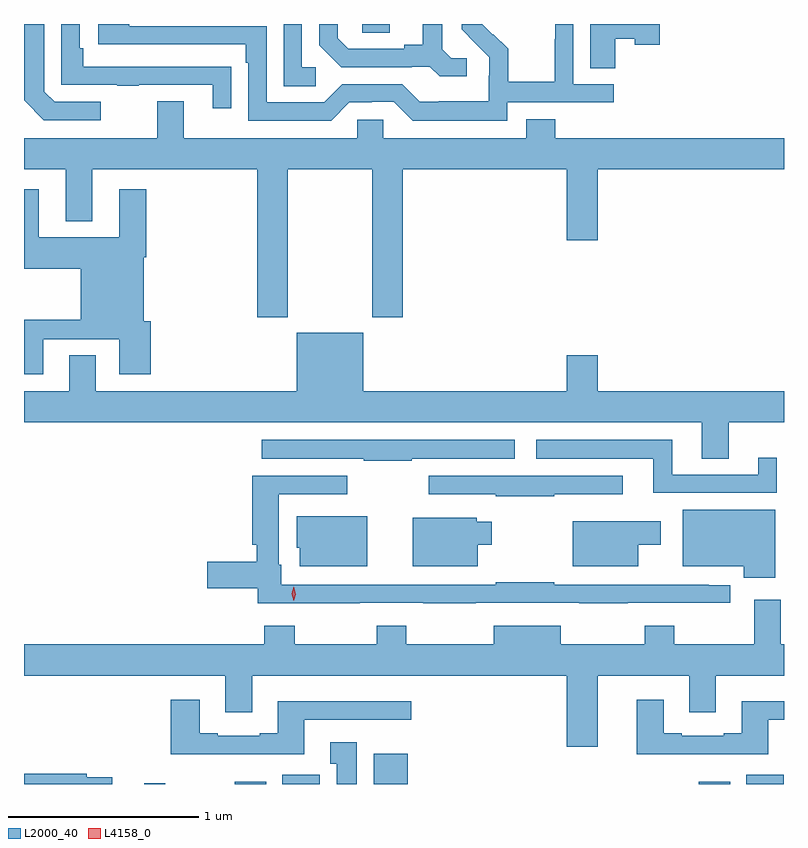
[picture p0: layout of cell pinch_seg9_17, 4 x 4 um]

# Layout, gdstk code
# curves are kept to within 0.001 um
import gdstk
lib = gdstk.Library(unit=1e-6, precision=1e-09)
def R(c, l, rs):  # rectangles x0, y0, x1, y1
    for r in rs: c.add(gdstk.rectangle(r[:2], r[2:], *l))
def P(c, l, *ps):  # polygons
    for p in ps: c.add(gdstk.Polygon(p, *l))
L2000_40 = (2000, 40)
L4158_0 = (4158, 0)

pinch_seg9_17 = lib.new_cell('pinch_seg9_17')
R(pinch_seg9_17, L2000_40, [(1109.835,1206.505,1109.947,1206.509), (1110.311,1206.505,1110.478,1206.517), (1110.563,1206.505,1110.759,1206.553), (1111.043,1206.505,1111.222,1206.664), (1112.753,1206.505,1112.92,1206.517), (1113.005,1206.505,1113.201,1206.553), (1110.984,1210.459,1111.129,1210.505)])
P(pinch_seg9_17, L2000_40, [(1111.746,1210.092),(1112.308,1210.092),(1112.308,1210.188),(1112.094,1210.188),(1112.094,1210.505),(1111.998,1210.505),(1111.998,1210.424),(1111.996,1210.424),(1111.996,1210.201),(1111.751,1210.201),(1111.751,1210.375),(1111.674,1210.452),(1111.671,1210.449),(1111.616,1210.505),(1111.506,1210.505),(1111.506,1210.478),(1111.652,1210.33),(1111.652,1210.233),(1111.65,1210.233),(1111.65,1210.099),(1111.387,1210.099),(1111.387,1210.095),(1111.287,1210.095),(1111.194,1210.188),(1110.879,1210.188),(1110.783,1210.092),(1110.48,1210.092),(1110.48,1210.494),(1109.756,1210.494),(1109.756,1210.505),(1109.595,1210.505),(1109.595,1210.398),(1110.371,1210.398),(1110.371,1210.301),(1110.384,1210.301),(1110.384,1209.996),(1110.819,1209.996),(1110.915,1210.092),(1111.034,1210.092),(1111.034,1210.095),(1111.149,1210.095),(1111.249,1209.995),(1111.746,1209.995)],
  [(1111.534,1210.326),(1111.452,1210.326),(1111.405,1210.373),(1111.405,1210.505),(1111.301,1210.505),(1111.301,1210.397),(1111.205,1210.397),(1111.205,1210.374),(1110.91,1210.374),(1110.853,1210.431),(1110.853,1210.505),(1110.756,1210.505),(1110.756,1210.394),(1110.872,1210.278),(1111.244,1210.278),(1111.244,1210.281),(1111.338,1210.281),(1111.39,1210.229),(1111.534,1210.229)],
  [(1109.608,1210.095),(1109.364,1210.095),(1109.31,1210.149),(1109.31,1210.505),(1109.203,1210.505),(1109.203,1210.104),(1109.307,1209.999),(1109.608,1209.999)],
  [(1110.293,1210.28),(1110.191,1210.28),(1110.191,1210.281),(1109.516,1210.281),(1109.516,1210.378),(1109.496,1210.378),(1109.496,1210.505),(1109.4,1210.505),(1109.4,1210.185),(1109.695,1210.185),(1109.695,1210.18),(1109.807,1210.18),(1109.807,1210.185),(1110.197,1210.185),(1110.197,1210.062),(1110.293,1210.062)],
  [(1110.739,1210.278),(1110.666,1210.278),(1110.666,1210.505),(1110.57,1210.505),(1110.57,1210.177),(1110.739,1210.177)],
  [(1112.314,1210.427),(1112.418,1210.427),(1112.418,1210.397),(1112.549,1210.397),(1112.549,1210.505),(1112.183,1210.505),(1112.183,1210.273),(1112.314,1210.273)],
  [(1110.591,1209.74),(1111.036,1209.74),(1111.036,1208.961),(1111.196,1208.961),(1111.196,1209.74),(1112.06,1209.74),(1112.06,1209.366),(1112.224,1209.366),(1112.224,1209.74),(1113.203,1209.74),(1113.203,1209.904),(1112,1209.904),(1112,1210.003),(1111.847,1210.003),(1111.847,1209.904),(1111.095,1209.904),(1111.095,1210.002),(1110.957,1210.002),(1110.957,1209.904),(1110.043,1209.904),(1110.043,1210.099),(1109.903,1210.099),(1109.903,1209.904),(1109.203,1209.904),(1109.203,1209.74),(1109.423,1209.74),(1109.423,1209.467),(1109.563,1209.467),(1109.563,1209.74),(1110.431,1209.74),(1110.431,1208.961),(1110.591,1208.961)],
  [(1109.305,1208.847),(1109.705,1208.847),(1109.705,1208.661),(1109.87,1208.661),(1109.87,1208.94),(1109.833,1208.94),(1109.833,1209.278),(1109.846,1209.278),(1109.846,1209.634),(1109.705,1209.634),(1109.705,1209.382),(1109.281,1209.382),(1109.281,1209.634),(1109.203,1209.634),(1109.203,1209.218),(1109.501,1209.218),(1109.501,1208.948),(1109.203,1208.948),(1109.203,1208.661),(1109.305,1208.661)],
  [(1112.911,1208.408),(1113.203,1208.408),(1113.203,1208.572),(1112.224,1208.572),(1112.224,1208.761),(1112.06,1208.761),(1112.06,1208.572),(1110.988,1208.572),(1110.988,1208.881),(1110.638,1208.881),(1110.638,1208.572),(1109.581,1208.572),(1109.581,1208.762),(1109.441,1208.762),(1109.441,1208.572),(1109.203,1208.572),(1109.203,1208.408),(1112.771,1208.408),(1112.771,1208.218),(1112.911,1208.218)],
  [(1111.244,1208.216),(1111.786,1208.216),(1111.786,1208.317),(1110.453,1208.317),(1110.453,1208.216),(1110.991,1208.216),(1110.991,1208.206),(1111.244,1208.206)],
  [(1113.166,1208.221),(1113.068,1208.221),(1113.068,1208.133),(1112.614,1208.133),(1112.614,1208.317),(1111.899,1208.317),(1111.899,1208.216),(1112.516,1208.216),(1112.516,1208.037),(1113.166,1208.037)],
  [(1110.971,1207.458),(1111.303,1207.458),(1111.303,1207.457),(1111.58,1207.457),(1111.58,1207.458),(1112.125,1207.458),(1112.125,1207.457),(1112.381,1207.457),(1112.381,1207.458),(1112.92,1207.458),(1112.92,1207.552),(1112.807,1207.552),(1112.807,1207.554),(1111.994,1207.554),(1111.994,1207.567),(1111.687,1207.567),(1111.687,1207.554),(1110.556,1207.554),(1110.556,1207.659),(1110.543,1207.659),(1110.543,1208.031),(1110.904,1208.031),(1110.904,1208.127),(1110.404,1208.127),(1110.404,1207.763),(1110.427,1207.763),(1110.427,1207.676),(1110.168,1207.676),(1110.168,1207.534),(1110.434,1207.534),(1110.434,1207.457),(1110.971,1207.457)],
  [(1111.994,1208.03),(1112.353,1208.03),(1112.353,1208.127),(1111.332,1208.127),(1111.332,1208.031),(1111.687,1208.031),(1111.687,1208.019),(1111.994,1208.019)],
  [(1113.157,1207.948),(1112.669,1207.948),(1112.669,1207.652),(1112.991,1207.652),(1112.991,1207.59),(1113.157,1207.59)],
  [(1111.009,1207.915),(1110.638,1207.915),(1110.638,1207.749),(1110.653,1207.749),(1110.653,1207.652),(1111.009,1207.652)],
  [(1111.591,1207.763),(1111.666,1207.763),(1111.666,1207.885),(1111.587,1207.885),(1111.587,1207.906),(1111.25,1207.906),(1111.25,1207.652),(1111.591,1207.652)],
  [(1112.437,1207.763),(1112.554,1207.763),(1112.554,1207.888),(1112.09,1207.888),(1112.09,1207.652),(1112.437,1207.652)],
  [(1112.224,1207.076),(1112.705,1207.076),(1112.705,1206.882),(1112.845,1206.882),(1112.845,1207.076),(1113.203,1207.076),(1113.203,1207.24),(1113.187,1207.24),(1113.187,1207.474),(1113.047,1207.474),(1113.047,1207.24),(1112.625,1207.24),(1112.625,1207.339),(1112.47,1207.339),(1112.47,1207.24),(1112.029,1207.24),(1112.029,1207.339),(1111.676,1207.339),(1111.676,1207.24),(1111.215,1207.24),(1111.215,1207.339),(1111.06,1207.339),(1111.06,1207.24),(1110.627,1207.24),(1110.627,1207.339),(1110.467,1207.339),(1110.467,1207.24),(1109.203,1207.24),(1109.203,1207.076),(1110.263,1207.076),(1110.263,1206.882),(1110.403,1206.882),(1110.403,1207.076),(1112.06,1207.076),(1112.06,1206.702),(1112.224,1206.702)],
  [(1113.121,1206.843),(1113.203,1206.843),(1113.203,1206.94),(1112.981,1206.94),(1112.981,1206.772),(1112.885,1206.772),(1112.885,1206.759),(1112.665,1206.759),(1112.665,1206.772),(1112.569,1206.772),(1112.569,1206.949),(1112.429,1206.949),(1112.429,1206.662),(1113.121,1206.662)],
  [(1110.679,1206.843),(1111.24,1206.843),(1111.24,1206.94),(1110.539,1206.94),(1110.539,1206.772),(1110.443,1206.772),(1110.443,1206.759),(1110.223,1206.759),(1110.223,1206.772),(1110.127,1206.772),(1110.127,1206.949),(1109.975,1206.949),(1109.975,1206.662),(1110.679,1206.662)],
  [(1110.955,1206.724),(1110.815,1206.724),(1110.815,1206.611),(1110.848,1206.611),(1110.848,1206.505),(1110.955,1206.505)],
  [(1109.668,1206.54),(1109.534,1206.54),(1109.534,1206.56),(1109.203,1206.56),(1109.203,1206.505),(1109.668,1206.505)])
P(pinch_seg9_17, L4158_0, [(1110.622,1207.47),(1110.622,1207.47),(1110.613,1207.506),(1110.624,1207.542),(1110.624,1207.542),(1110.624,1207.542),(1110.633,1207.505),(1110.622,1207.47)])

lib.write_gds('pinch_seg9_17.gds')
